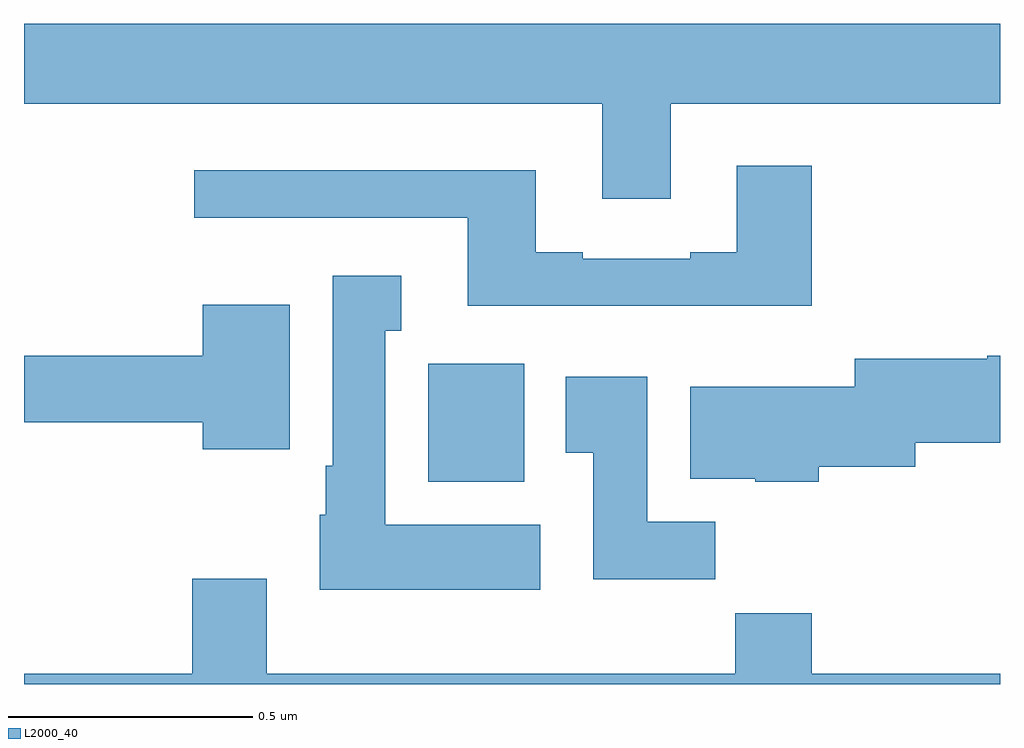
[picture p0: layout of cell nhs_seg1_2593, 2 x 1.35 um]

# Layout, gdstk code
import gdstk
lib = gdstk.Library(unit=1e-6, precision=1e-09)
def R(c, l, rs):  # rectangles x0, y0, x1, y1
    for r in rs: c.add(gdstk.rectangle(r[:2], r[2:], *l))
def P(c, l, *ps):  # polygons
    for p in ps: c.add(gdstk.Polygon(p, *l))
L2000_40 = (2000, 40)

nhs_seg1_2593 = lib.new_cell('nhs_seg1_2593')
R(nhs_seg1_2593, L2000_40, [(143.828,561.614,144.025,561.856)])
P(nhs_seg1_2593, L2000_40, [(143,562.388),(144.185,562.388),(144.185,562.194),(144.325,562.194),(144.325,562.388),(145,562.388),(145,562.552),(143,562.552)],
  [(144.614,562.261),(144.461,562.261),(144.461,562.084),(144.365,562.084),(144.365,562.071),(144.145,562.071),(144.145,562.084),(144.049,562.084),(144.049,562.252),(143.349,562.252),(143.349,562.155),(143.909,562.155),(143.909,561.974),(144.614,561.974)],
  [(144.058,561.526),(143.74,561.526),(143.74,561.923),(143.773,561.923),(143.773,562.036),(143.633,562.036),(143.633,561.646),(143.618,561.646),(143.618,561.546),(143.606,561.546),(143.606,561.392),(144.058,561.392)],
  [(143.545,561.976),(143.366,561.976),(143.366,561.872),(143,561.872),(143,561.736),(143.366,561.736),(143.366,561.68),(143.545,561.68)],
  [(144.629,561.644),(144.826,561.644),(144.826,561.694),(145,561.694),(145,561.872),(144.974,561.872),(144.974,561.866),(144.702,561.866),(144.702,561.808),(144.365,561.808),(144.365,561.62),(144.498,561.62),(144.498,561.614),(144.629,561.614)],
  [(144.416,561.532),(144.277,561.532),(144.277,561.829),(144.11,561.829),(144.11,561.673),(144.167,561.673),(144.167,561.414),(144.416,561.414)],
  [(145,561.22),(144.614,561.22),(144.614,561.344),(144.457,561.344),(144.457,561.22),(143.497,561.22),(143.497,561.415),(143.345,561.415),(143.345,561.22),(143,561.22),(143,561.199),(145,561.199)])

lib.write_gds('nhs_seg1_2593.gds')
